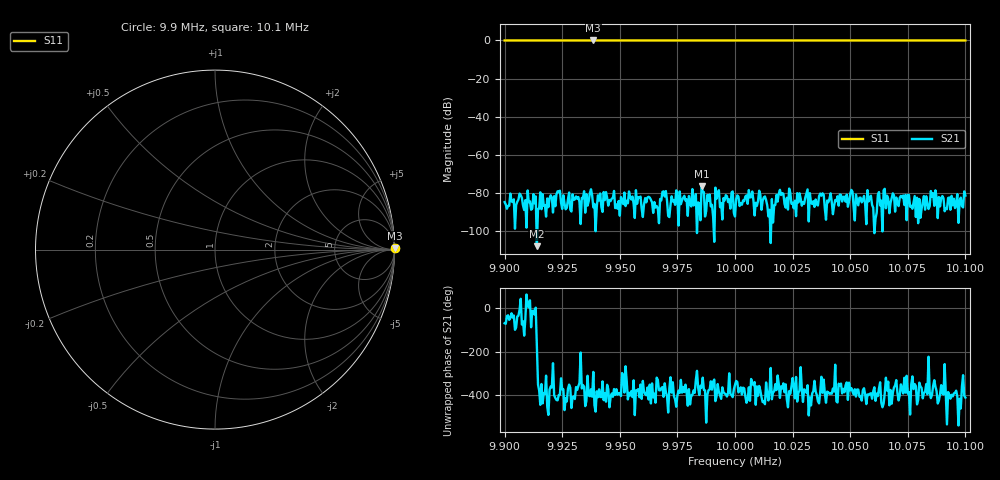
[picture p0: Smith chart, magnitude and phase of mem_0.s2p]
! NanoVNA-App
! Date: 2026-10-13 22:32:05
! Start: 9,9MHz Stop: 10,1MHz Points: 401
! S-Parameter data: F S11 S21 S12 S22
# Hz S RI R 50
!  Frequency  S11_Real  S11_Imag  S21_Real  S21_Imag  S12_Real  S12_Imag  S22_Real  S22_Imag
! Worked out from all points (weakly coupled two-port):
!   401 points, 9.9 MHz to 10.1 MHz, reference 50 ohm
!   highest |S21| = -76.34 dB at 9.9855 MHz (marker M1); lowest = -108.0 dB at 9.914 MHz (marker M2)
!   lowest |S11| = 0.0 dB at 9.9385 MHz (marker M3)
!   |S11| at or under -10 dB: nowhere
!   S12 and S22 are empty: the file has one direction only
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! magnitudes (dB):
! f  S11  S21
! 9.9 MHz  0.0  -84.9
! 9.914 MHz  0.0  -108.0
! 9.9335 MHz  0.0  -82.7
! 9.9385 MHz  0.0  -87.6
! 9.967 MHz  0.0  -95.9
! 9.9695 MHz  0.0  -81.9
! 9.984 MHz  0.0  -85.0
! 9.9845 MHz  0.0  -85.6
! 9.9855 MHz  0.0  -76.3
! 9.988 MHz  0.0  -81.1
! 9.99 MHz  0.0  -86.3
! 9.992 MHz  0.0  -83.1
! 9.9945 MHz  0.0  -94.0
! 10 MHz  0.0  -92.5
! 10.024 MHz  0.0  -85.7
! 10.025 MHz  0.0  -85.2
! 10.034 MHz  0.0  -85.9
! 10.051 MHz  0.0  -79.4
! 10.061 MHz  0.0  -93.5
! 10.065 MHz  0.0  -78.7
! 10.067 MHz  0.0  -90.7
! 10.1 MHz  0.0  -81.5
